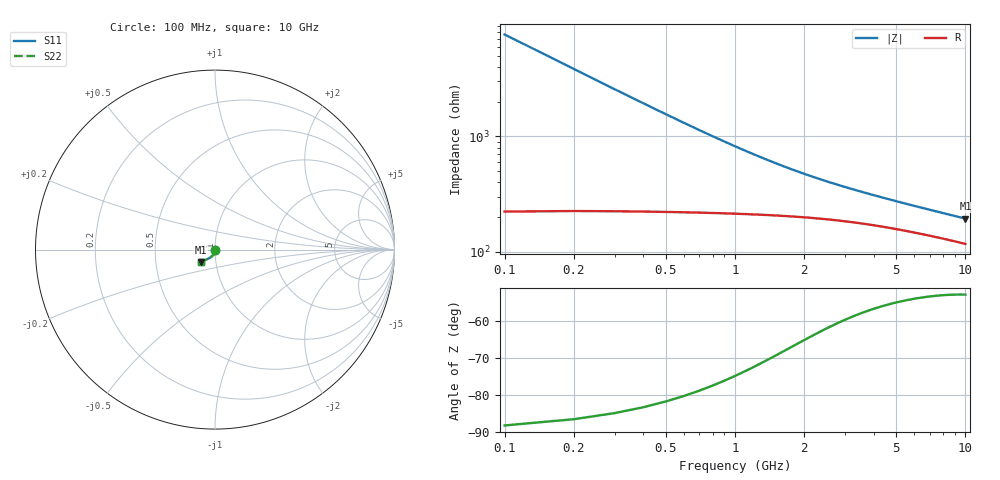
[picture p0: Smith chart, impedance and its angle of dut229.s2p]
! Touchstone file exported from HFSS 2024.1.0
!  File:  C:/UserFiles/LocalFiles/RDL_TSV_Batchsim/temp_TSV1_229_1778759022.aedt
!  Generated:  07:47:24 PM May 14, 2026
!  Design:  TSV1
!  Project:  temp_TSV1_229_1778759022
!  Setup:  Setup1
!  Solution:  Sweep
! Variables:
!  dtsv = 21.65um
!  hbump = 3um
!  htsv = 79.27um
!  lrdl = 252.1521522um
!  p = 40
!  p1 = 50.04um
!  t = 500um
!  trdl = 3um
!  wrdl = 24.89489489um
# GHz S MA R 50.000000
! Terminal data exported
! Port[1] = TSV22_T1
! Port[2] = TSV22_T2
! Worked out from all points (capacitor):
!   100 points, 100 MHz to 10 GHz, reference 50 ohm
!   read as one part in shunt: C = 208 fF near 100 MHz
!   lowest |Z| = 193 ohm at 10 GHz (marker M1)
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0.1  0.003005 -90.5  0.9998 -0.2  0.9998 -0.2  0.003005 -90.5
! Gamma 0 0 0 0
! Port Impedance 50 0 50 0
0.2  0.005999 -93.1  0.9995 -0.4  0.9995 -0.4  0.005999 -93.1
0.3  0.008971 -95.2  0.999 -0.6  0.999 -0.6  0.008971 -95.2
0.4  0.01191 -97.2  0.9983 -0.8  0.9983 -0.8  0.01191 -97.2
0.5  0.01479 -99.0  0.9974 -1.0  0.9974 -1.0  0.01479 -99.0
0.6  0.01761 -100.8  0.9964 -1.2  0.9964 -1.2  0.01761 -100.8
0.7  0.02036 -102.5  0.9953 -1.3  0.9953 -1.3  0.02036 -102.5
0.8  0.02302 -104.1  0.9941 -1.5  0.9941 -1.5  0.02302 -104.1
0.9  0.0256 -105.7  0.9928 -1.6  0.9928 -1.6  0.0256 -105.7
1.1  0.03048 -108.7  0.99 -1.9  0.99 -1.9  0.03048 -108.7
1.4  0.0371 -112.7  0.9856 -2.3  0.9856 -2.3  0.0371 -112.7
1.6  0.04106 -115.1  0.9827 -2.5  0.9827 -2.5  0.04106 -115.1
1.8  0.04469 -117.2  0.9798 -2.7  0.9798 -2.7  0.04469 -117.2
2.1  0.04958 -120.0  0.9756 -3.0  0.9756 -3.0  0.04958 -120.0
2.5  0.05524 -123.1  0.9704 -3.3  0.9704 -3.3  0.05524 -123.1
2.9  0.06014 -125.5  0.9658 -3.6  0.9658 -3.6  0.06014 -125.5
3.4  0.06547 -127.9  0.9606 -3.9  0.9606 -3.9  0.06547 -127.9
4.2  0.07273 -130.8  0.9537 -4.3  0.9537 -4.3  0.07273 -130.8
5.1  0.07966 -133.1  0.9471 -4.7  0.9471 -4.7  0.07966 -133.1
6.7  0.08987 -135.8  0.9377 -5.4  0.9377 -5.4  0.08987 -135.8
8.4  0.09875 -137.6  0.9298 -6.0  0.9298 -6.0  0.09875 -137.6
10  0.1059 -138.8  0.9237 -6.6  0.9237 -6.6  0.1059 -138.8
